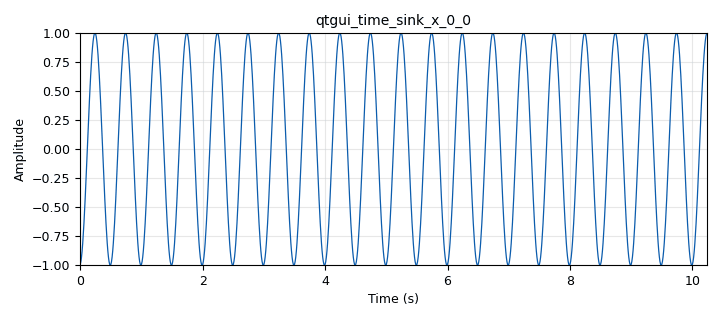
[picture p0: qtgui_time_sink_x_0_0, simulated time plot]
options:
  parameters:
    generate_options: qt_gui
    id: dyuhh
    output_language: python
    title: Not titled yet
  states: {}

blocks:
- name: samp_rate
  id: variable
  parameters:
    value: '100'
  states: {}
- name: analog_sig_source_x_0
  id: analog_sig_source_x
  parameters:
    amp: '1'
    freq: '2'
    offset: '0'
    phase: '0'
    samp_rate: samp_rate
    type: float
    waveform: analog.GR_COS_WAVE
  states: {}
- name: howto_am_modulator_0
  id: howto_am_modulator
  parameters: {}
  states: {}
- name: qtgui_time_sink_x_0
  id: qtgui_time_sink_x
  parameters:
    size: '1024'
    srate: samp_rate
    type: float
  states: {}
- name: qtgui_time_sink_x_0_0
  id: qtgui_time_sink_x
  parameters:
    size: '1024'
    srate: samp_rate
    type: float
  states: {}

connections:
- [analog_sig_source_x_0, '0', howto_am_modulator_0, '0']
- [analog_sig_source_x_0, '0', qtgui_time_sink_x_0_0, '0']
- [howto_am_modulator_0, '0', qtgui_time_sink_x_0, '0']

metadata:
  file_format: 1
